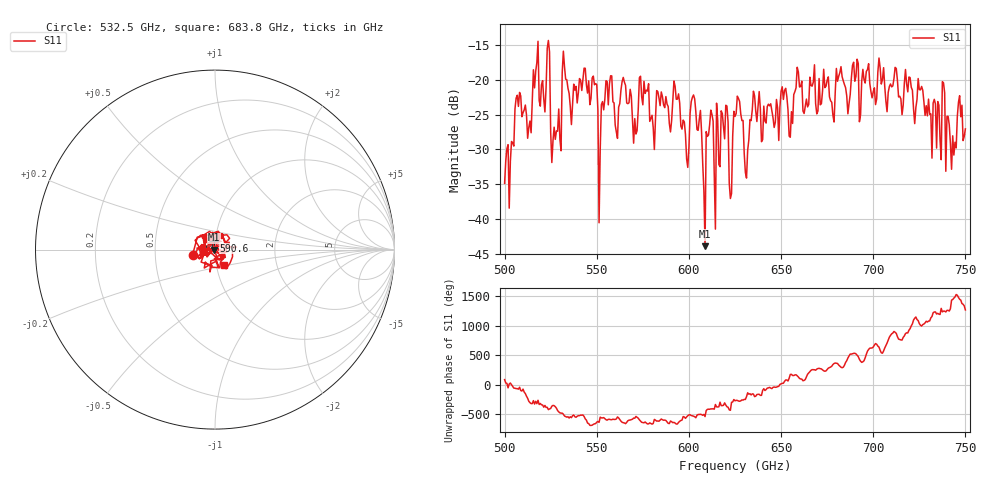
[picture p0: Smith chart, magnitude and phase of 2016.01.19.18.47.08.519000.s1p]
!Created with skrf (http://scikit-rf.org).
# GHz S RI R 50.0
!freq ReS11 ImS11
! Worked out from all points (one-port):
!   401 points, 500 GHz to 750 GHz, reference 50 ohm
!   lowest |S11| = -43.8 dB at 608.8 GHz (marker M1), VSWR 1.01, Z = 49.4 - j0.0423 ohm
!   |S11| at or under -10 dB: start of sweep to end of sweep
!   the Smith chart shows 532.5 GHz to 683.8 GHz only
!   S11 on the Smith chart (normalised r, x): 532.5 GHz: 0.78, -0.05; 590.6 GHz: 0.98, +0.10; 683.8 GHz: 1.09, -0.18
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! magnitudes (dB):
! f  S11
! 500 GHz  -34.8
! 507.5 GHz  -23.8
! 513.8 GHz  -25.9
! 516.9 GHz  -18.8
! 523.8 GHz  -14.4
! 526.2 GHz  -28.8
! 531.2 GHz  -19.0
! 532.5 GHz  -18.2
! 548.8 GHz  -20.7
! 551.9 GHz  -30.0
! 556.2 GHz  -23.6
! 562.5 GHz  -23.4
! 590.6 GHz  -25.9
! 593.8 GHz  -22.8
! 598.8 GHz  -31.3
! 602.5 GHz  -22.2
! 608.8 GHz  -43.8
! 611.9 GHz  -24.4
! 620 GHz  -23.7
! 623.1 GHz  -36.3
! 625 GHz  -25.3
! 631.2 GHz  -34.1
! 635 GHz  -21.7
! 656.2 GHz  -26.3
! 683.8 GHz  -20.2
! 687.5 GHz  -22.2
! 718.8 GHz  -21.8
! 750 GHz  -27.1
